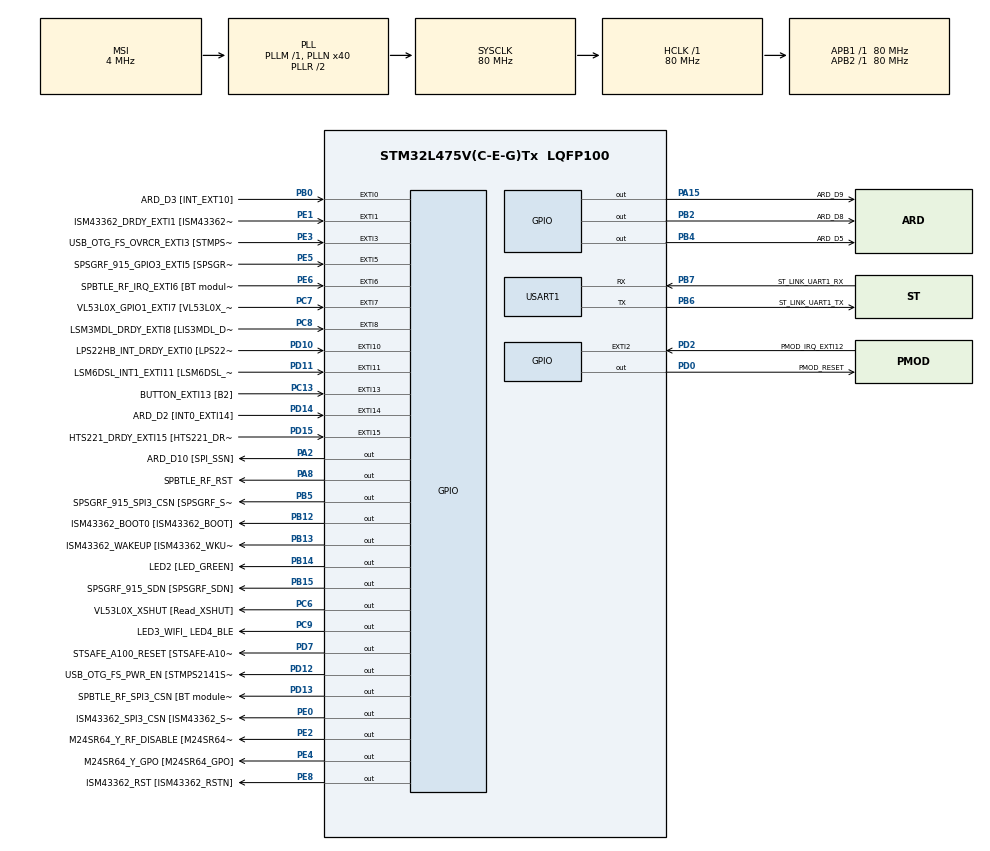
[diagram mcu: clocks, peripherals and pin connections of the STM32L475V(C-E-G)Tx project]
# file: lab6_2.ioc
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ADC1.Channel-0\#ChannelRegularConversion=ADC_CHANNEL_TEMPSENSOR
ADC1.DMAContinuousRequests=ENABLE
ADC1.ExternalTrigConv=ADC_EXTERNALTRIG_T1_TRGO
ADC1.NbrOfConversionFlag=1
ADC1.OffsetNumber-0\#ChannelRegularConversion=ADC_OFFSET_NONE
ADC1.Overrun=ADC_OVR_DATA_OVERWRITTEN
ADC1.Rank-0\#ChannelRegularConversion=1
ADC1.SamplingTime-0\#ChannelRegularConversion=ADC_SAMPLETIME_247CYCLES_5
ADC1.master=1
Dma.ADC1.0.Direction=DMA_PERIPH_TO_MEMORY
Dma.ADC1.0.Instance=DMA1_Channel1
Dma.ADC1.0.MemDataAlignment=DMA_MDATAALIGN_HALFWORD
Dma.ADC1.0.MemInc=DMA_MINC_ENABLE
Dma.ADC1.0.Mode=DMA_CIRCULAR
Dma.ADC1.0.PeriphDataAlignment=DMA_PDATAALIGN_HALFWORD
Dma.ADC1.0.PeriphInc=DMA_PINC_DISABLE
Dma.ADC1.0.Priority=DMA_PRIORITY_LOW
Dma.Request0=ADC1
FREERTOS.Queues01=tempQueue,8,uint8_t,0,Dynamic,NULL,NULL
FREERTOS.Tasks01=TempTask,24,512,StartTempTask,Default,NULL,Dynamic,NULL,NULL
FREERTOS.configUSE_NEWLIB_REENTRANT=1
Mcu.Family=STM32L4
Mcu.Name=STM32L475V(C-E-G)Tx
Mcu.Package=LQFP100
NVIC.ADC1_2_IRQn=true\:5\:0\:false\:false\:true\:true\:true\:true\:true
NVIC.DMA1_Channel1_IRQn=true\:5\:0\:false\:false\:true\:true\:false\:true\:true
NVIC.EXTI15_10_IRQn=true\:5\:0\:false\:false\:true\:true\:true\:true\:true
NVIC.EXTI9_5_IRQn=true\:5\:0\:false\:false\:true\:true\:true\:true\:true
NVIC.PriorityGroup=NVIC_PRIORITYGROUP_4
NVIC.TIM6_DAC_IRQn=true\:15\:0\:false\:false\:true\:false\:false\:true\:true
NVIC.TimeBase=TIM6_DAC_IRQn
NVIC.TimeBaseIP=TIM6
NVIC.USART1_IRQn=true\:5\:0\:false\:false\:true\:true\:true\:true\:true
PA0.GPIO_Label=ARD_D1 [UART4_TX]
PA0.Signal=UART4_TX
PA1.GPIO_Label=ARD_D0 [UART4_RX]
PA1.Signal=UART4_RX
PA10.GPIO_Label=USB_OTG_FS_ID
PA10.Signal=USB_OTG_FS_ID
PA11.GPIO_Label=USB_OTG_FS_DM
PA11.Signal=USB_OTG_FS_DM
PA12.GPIO_Label=USB_OTG_FS_DP
PA12.Signal=USB_OTG_FS_DP
PA13\ (JTMS-SWDIO).GPIO_Label=SYS_JTMS_SWDIO
PA13\ (JTMS-SWDIO).Mode=Serial_Wire
PA13\ (JTMS-SWDIO).Signal=SYS_JTMS-SWDIO
PA14\ (JTCK-SWCLK).GPIO_Label=SYS_JTCK_SWCLK
PA14\ (JTCK-SWCLK).Mode=Serial_Wire
PA14\ (JTCK-SWCLK).Signal=SYS_JTCK-SWCLK
PA15\ (JTDI).GPIO_Label=ARD_D9
PA15\ (JTDI).Signal=GPIO_Output
PA2.GPIO_Label=ARD_D10 [SPI_SSN]
PA2.Signal=GPIO_Output
PA3.GPIO_Label=ARD_D4
PA3.Signal=S_TIM2_CH4
PA4.GPIO_Label=ARD_D7
PA4.Signal=ADCx_IN9
PA5.GPIO_Label=ARD_D13 [SPI1_SCK]
PA5.Signal=SPI1_SCK
PA6.GPIO_Label=ARD_D12 [SPI1_MISO]
PA6.Signal=SPI1_MISO
PA7.GPIO_Label=ARD_D11 [SPI1_MOSI]
PA7.Signal=SPI1_MOSI
PA8.GPIO_Label=SPBTLE_RF_RST
PA8.Signal=GPIO_Output
PA9.GPIO_Label=USB_OTG_FS_VBUS [STMPS2141STR_OUT]
PA9.Signal=USB_OTG_FS_VBUS
PB0.GPIO_Label=ARD_D3 [INT_EXT10]
PB0.Signal=GPXTI0
PB1.GPIO_Label=ARD_D6 [ADC1_IN6]
PB1.Signal=ADCx_IN16
PB10.GPIO_Label=INTERNAL_I2C2_SCL [VL53L0X_SCL]
PB10.Signal=I2C2_SCL
PB11.GPIO_Label=INTERNAL_I2C2_SDA [VL53L0X_SDA]
PB11.Signal=I2C2_SDA
PB12.GPIO_Label=ISM43362_BOOT0 [ISM43362_BOOT]
PB12.Signal=GPIO_Output
PB13.GPIO_Label=ISM43362_WAKEUP [ISM43362_WKUP]
PB13.Signal=GPIO_Output
PB14.GPIO_Label=LED2 [LED_GREEN]
PB14.Signal=GPIO_Output
PB15.GPIO_Label=SPSGRF_915_SDN [SPSGRF_SDN]
PB15.Signal=GPIO_Output
PB2.GPIO_Label=ARD_D8
PB2.Signal=GPIO_Output
PB3\ (JTDO-TRACESWO).GPIO_Label=SYS_JTD0_SWO
PB3\ (JTDO-TRACESWO).Signal=SYS_JTDO-SWO
PB4\ (NJTRST).GPIO_Label=ARD_D5
PB4\ (NJTRST).Signal=GPIO_Output
PB5.GPIO_Label=SPSGRF_915_SPI3_CSN [SPSGRF_SPI_CS]
PB5.PinState=GPIO_PIN_SET
PB5.Signal=GPIO_Output
PB6.GPIO_Label=ST_LINK_UART1_TX
PB6.Mode=Asynchronous
PB6.Signal=USART1_TX
PB7.GPIO_Label=ST_LINK_UART1_RX
PB7.Mode=Asynchronous
PB7.Signal=USART1_RX
PB8.GPIO_Label=ARD_D15 [I2C1_SCL]
PB8.Signal=I2C1_SCL
PB9.GPIO_Label=ARD_D14 [I2C1_SDA]
PB9.Signal=I2C1_SDA
PC0.GPIO_Label=ARD_A5 [ADC]
PC0.Signal=ADCx_IN1
PC1.GPIO_Label=ARD_A4 [ADC]
PC1.Signal=ADCx_IN2
PC10.GPIO_Label=INTERNAL_SPI3_SCK [BT module_SPI_SCLK] [ISM43362_SCK]
PC10.Signal=SPI3_SCK
PC11.GPIO_Label=INTERNAL_SPI3_MISO [BT module_SPI_MISO] [ISM43362_MISO]
PC11.Signal=SPI3_MISO
PC12.GPIO_Label=INTERNAL_SPI3_MOSI [BT module_SPI_MOSI] [ISM43362_MOSI]
PC12.Signal=SPI3_MOSI
PC13.GPIO_Label=BUTTON_EXTI13 [B2]
PC13.GPIO_ModeDefaultEXTI=GPIO_MODE_IT_FALLING
PC13.Signal=GPXTI13
PC14-OSC32_IN\ (PC14).Signal=RCC_OSC32_IN
PC15-OSC32_OUT\ (PC15).Signal=RCC_OSC32_OUT
PC2.GPIO_Label=ARD_A3 [ADC]
PC2.Signal=ADCx_IN3
PC3.GPIO_Label=ARD_A2 [ADC]
PC3.Signal=ADCx_IN4
PC4.GPIO_Label=ARD_A1 [ADC]
PC4.Signal=ADCx_IN13
PC5.GPIO_Label=ARD_A0 [ADC]
PC5.Signal=ADCx_IN14
PC6.GPIO_Label=VL53L0X_XSHUT [Read_XSHUT]
PC6.Signal=GPIO_Output
PC7.GPIO_Label=VL53L0X_GPIO1_EXTI7 [VL53L0X_GPIO1]
PC7.Signal=GPXTI7
PC8.GPIO_Label=LSM3MDL_DRDY_EXTI8 [LIS3MDL_DRDY]
PC8.Signal=GPXTI8
PC9.GPIO_Label=LED3_WIFI_ LED4_BLE
PC9.Signal=GPIO_Output
PD0.GPIO_Label=PMOD_RESET
PD0.Signal=GPIO_Output
PD1.GPIO_Label=PMOD_SPI2_SCK
PD1.Signal=SPI2_SCK
PD10.GPIO_Label=LPS22HB_INT_DRDY_EXTI0 [LPS22HB_INT_DRDY] 
PD10.Signal=GPXTI10
PD11.GPIO_Label=LSM6DSL_INT1_EXTI11 [LSM6DSL_INT1]
PD11.Signal=GPXTI11
PD12.GPIO_Label=USB_OTG_FS_PWR_EN [STMPS2141STR_EN]
PD12.Signal=GPIO_Output
PD13.GPIO_Label=SPBTLE_RF_SPI3_CSN [BT module_SPI_CS]
PD13.PinState=GPIO_PIN_SET
PD13.Signal=GPIO_Output
PD14.GPIO_Label=ARD_D2 [INT0_EXTI14]
PD14.Signal=GPXTI14
PD15.GPIO_Label=HTS221_DRDY_EXTI15 [HTS221_DRDY]
PD15.Signal=GPXTI15
PD2.GPIO_Label=PMOD_IRQ_EXTI12
PD2.Signal=GPXTI2
PD3.GPIO_Label=PMOD_UART2_CTS
PD3.Signal=USART2_CTS
PD4.GPIO_Label=PMOD_UART2_RTS
PD4.Signal=USART2_RTS
PD5.GPIO_Label=PMOD_UART2_TX
PD5.Signal=USART2_TX
PD6.GPIO_Label=PMOD_UART2_RX
PD6.Signal=USART2_RX
PD7.GPIO_Label=STSAFE_A100_RESET [STSAFE-A100_RESET]
PD7.Signal=GPIO_Output
PD8.GPIO_Label=INTERNAL_UART3_TX [ISM43362_RX]
PD8.Signal=USART3_TX
PD9.GPIO_Label=INTERNAL_UART3_RX [ISM43362_TX]
PD9.Signal=USART3_RX
PE0.GPIO_Label=ISM43362_SPI3_CSN [ISM43362_SSN]
PE0.PinState=GPIO_PIN_SET
PE0.Signal=GPIO_Output
PE1.GPIO_Label=ISM43362_DRDY_EXTI1 [ISM43362_DATARDY]
PE1.Signal=GPXTI1
PE10.GPIO_Label=QUADSPI_CLK [MX25R6435F_SCLK]
PE10.Signal=QUADSPI_CLK
PE11.GPIO_Label=QUADSPI_NCS [MX25R6435F_SCLK]
PE11.Signal=QUADSPI_NCS
PE12.GPIO_Label=OQUADSPI_BK1_IO0 [MX25R6435F_IO0]
PE12.Signal=QUADSPI_BK1_IO0
PE13.GPIO_Label=QUADSPI_BK1_IO1 [MX25R6435F_IO1]
PE13.Signal=QUADSPI_BK1_IO1
PE14.GPIO_Label=QUAD_SPI_BK1_IO2 [MX25R6435F_IO2]
PE14.Signal=QUADSPI_BK1_IO2
PE15.GPIO_Label=QUAD_SPI_BK1_IO3 [MX25R6435F_IO3]
PE15.Signal=QUADSPI_BK1_IO3
PE2.GPIO_Label=M24SR64_Y_RF_DISABLE [M24SR64_RFDIS]
PE2.Signal=GPIO_Output
PE3.GPIO_Label=USB_OTG_FS_OVRCR_EXTI3 [STMPS2141STR_FAULT]
PE3.Signal=GPXTI3
PE4.GPIO_Label=M24SR64_Y_GPO [M24SR64_GPO]
PE4.Signal=GPIO_Output
PE5.GPIO_Label=SPSGRF_915_GPIO3_EXTI5 [SPSGRF_GPIO_3]
PE5.Signal=GPXTI5
PE6.GPIO_Label=SPBTLE_RF_IRQ_EXTI6 [BT module_SPI_IRQ]
PE6.Signal=GPXTI6
PE7.GPIO_Label=DFSDM1_DATIN2 [MP34DT01_DOUT]
PE7.Signal=S_DATAIN2DFSDM1
PE8.GPIO_Label=ISM43362_RST [ISM43362_RSTN]
PE8.Signal=GPIO_Output
PE9.GPIO_Label=DFSDM1_CKOUT [MP34DT01_CLK]
PE9.Signal=S_CKOUTDFSDM1
ProjectManager.HeapSize=0x200
ProjectManager.StackSize=0x400
ProjectManager.TargetToolchain=STM32CubeIDE
RCC.ADCFreq_Value=48000000
RCC.AHBFreq_Value=80000000
RCC.APB1Freq_Value=80000000
RCC.APB1TimFreq_Value=80000000
RCC.APB2Freq_Value=80000000
RCC.APB2TimFreq_Value=80000000
RCC.CortexFreq_Value=80000000
RCC.HCLKFreq_Value=80000000
RCC.HSE_VALUE=8000000
RCC.HSI_VALUE=16000000
RCC.LSE_VALUE=32768
RCC.MSI_VALUE=4000000
RCC.PLLN=40
RCC.PLLSAI1N=24
RCC.SYSCLKFreq_VALUE=80000000
RCC.SYSCLKSource=RCC_SYSCLKSOURCE_PLLCLK
RCC.USBFreq_Value=48000000
RCC.VCOOutputFreq_Value=160000000
SH.ADCx_IN1.0=ADC1_IN1
SH.ADCx_IN13.0=ADC1_IN13
SH.ADCx_IN14.0=ADC1_IN14
SH.ADCx_IN16.0=ADC1_IN16
SH.ADCx_IN2.0=ADC1_IN2
SH.ADCx_IN3.0=ADC1_IN3
SH.ADCx_IN4.0=ADC1_IN4
SH.ADCx_IN9.0=ADC1_IN9
SH.S_CKOUTDFSDM1.0=DFSDM1_CKOUT
SH.S_DATAIN2DFSDM1.0=DFSDM1_DATIN2
SH.S_TIM2_CH4.0=TIM2_CH4
TIM1.Period=999
TIM1.Prescaler=3999
TIM1.TIM_MasterOutputTrigger=TIM_TRGO_UPDATE
TIM1.TIM_MasterOutputTrigger2=TIM_TRGO2_UPDATE
USART1.VirtualMode-Asynchronous=VM_ASYNC
VP_ADC1_TempSens_Input.Mode=IN-TempSens
VP_FREERTOS_VS_CMSIS_V2.Mode=CMSIS_V2
VP_SYS_VS_tim6.Mode=TIM6
VP_TIM1_VS_ClockSourceINT.Mode=Internal
board=B-L475E-IOT01A1

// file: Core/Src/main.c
/* USER CODE BEGIN Header */
/**
  ******************************************************************************
  * @file           : main.c
  * @brief          : Main program body
  ******************************************************************************
  * @attention
  *
  * Copyright (c) 2026 STMicroelectronics.
  * All rights reserved.
  *
  * This software is licensed under terms that can be found in the LICENSE file
  * in the root directory of this software component.
  * If no LICENSE file comes with this software, it is provided AS-IS.
  *
  ******************************************************************************
  */
/* USER CODE END Header */
#include "main.h"
#include "cmsis_os.h"

/* USER CODE BEGIN Includes */
#include <stdio.h>
/* USER CODE END Includes */

/* USER CODE BEGIN PD */
#define SAMPLE_BUFFER_SIZE 256
/* USER CODE END PD */

ADC_HandleTypeDef hadc1;
DMA_HandleTypeDef hdma_adc1;

TIM_HandleTypeDef htim1;

UART_HandleTypeDef huart1;

/* Definitions for TempTask */
osThreadId_t TempTaskHandle;
const osThreadAttr_t TempTask_attributes = {
  .name = "TempTask",
  .stack_size = 512 * 4,
  .priority = (osPriority_t) osPriorityNormal,
};
/* Definitions for tempQueue */
osMessageQueueId_t tempQueueHandle;
const osMessageQueueAttr_t tempQueue_attributes = {
  .name = "tempQueue"
};
/* USER CODE BEGIN PV */
uint16_t sample_buffer[SAMPLE_BUFFER_SIZE];
/* USER CODE END PV */

void SystemClock_Config(void);
static void MX_GPIO_Init(void);
static void MX_DMA_Init(void);
static void MX_ADC1_Init(void);
static void MX_TIM1_Init(void);
static void MX_USART1_UART_Init(void);
void StartTempTask(void *argument);

/* USER CODE BEGIN 0 */
int __io_putchar(int ch) {
	HAL_UART_Transmit(&huart1, (uint8_t*)&ch, 1, HAL_MAX_DELAY);
	return ch;
}
/* USER CODE END 0 */

int main(void)
{

  /* MCU Configuration--------------------------------------------------------*/

  /* Reset of all peripherals, Initializes the Flash interface and the Systick. */
  HAL_Init();

  /* Configure the system clock */
  SystemClock_Config();

  /* Initialize all configured peripherals */
  MX_GPIO_Init();
  MX_DMA_Init();
  MX_ADC1_Init();
  MX_TIM1_Init();
  MX_USART1_UART_Init();

  /* Init scheduler */
  osKernelInitialize();

  /* Create the queue(s) */
  /* creation of tempQueue */
  tempQueueHandle = osMessageQueueNew (8, sizeof(uint8_t), &tempQueue_attributes);

  /* Create the thread(s) */
  /* creation of TempTask */
  TempTaskHandle = osThreadNew(StartTempTask, NULL, &TempTask_attributes);

  /* Start scheduler */
  osKernelStart();

  /* We should never get here as control is now taken by the scheduler */

  /* Infinite loop */
  while (1)
  {

  }
}

void SystemClock_Config(void)
{
  RCC_OscInitTypeDef RCC_OscInitStruct = {0};
  RCC_ClkInitTypeDef RCC_ClkInitStruct = {0};

  /** Configure the main internal regulator output voltage
  */
  if (HAL_PWREx_ControlVoltageScaling(PWR_REGULATOR_VOLTAGE_SCALE1) != HAL_OK)
  {
    Error_Handler();
  }

  /** Initializes the RCC Oscillators according to the specified parameters
  * in the RCC_OscInitTypeDef structure.
  */
  RCC_OscInitStruct.OscillatorType = RCC_OSCILLATORTYPE_MSI;
  RCC_OscInitStruct.MSIState = RCC_MSI_ON;
  RCC_OscInitStruct.MSICalibrationValue = 0;
  RCC_OscInitStruct.MSIClockRange = RCC_MSIRANGE_6;
  RCC_OscInitStruct.PLL.PLLState = RCC_PLL_ON;
  RCC_OscInitStruct.PLL.PLLSource = RCC_PLLSOURCE_MSI;
  RCC_OscInitStruct.PLL.PLLM = 1;
  RCC_OscInitStruct.PLL.PLLN = 40;
  RCC_OscInitStruct.PLL.PLLP = RCC_PLLP_DIV7;
  RCC_OscInitStruct.PLL.PLLQ = RCC_PLLQ_DIV2;
  RCC_OscInitStruct.PLL.PLLR = RCC_PLLR_DIV2;
  if (HAL_RCC_OscConfig(&RCC_OscInitStruct) != HAL_OK)
  {
    Error_Handler();
  }

  /** Initializes the CPU, AHB and APB buses clocks
  */
  RCC_ClkInitStruct.ClockType = RCC_CLOCKTYPE_HCLK|RCC_CLOCKTYPE_SYSCLK
                              |RCC_CLOCKTYPE_PCLK1|RCC_CLOCKTYPE_PCLK2;
  RCC_ClkInitStruct.SYSCLKSource = RCC_SYSCLKSOURCE_PLLCLK;
  RCC_ClkInitStruct.AHBCLKDivider = RCC_SYSCLK_DIV1;
  RCC_ClkInitStruct.APB1CLKDivider = RCC_HCLK_DIV1;
  RCC_ClkInitStruct.APB2CLKDivider = RCC_HCLK_DIV1;

  if (HAL_RCC_ClockConfig(&RCC_ClkInitStruct, FLASH_LATENCY_4) != HAL_OK)
  {
    Error_Handler();
  }
}

static void MX_ADC1_Init(void)
{

  ADC_MultiModeTypeDef multimode = {0};
  ADC_ChannelConfTypeDef sConfig = {0};

  /** Common config
  */
  hadc1.Instance = ADC1;
  hadc1.Init.ClockPrescaler = ADC_CLOCK_ASYNC_DIV1;
  hadc1.Init.Resolution = ADC_RESOLUTION_12B;
  hadc1.Init.DataAlign = ADC_DATAALIGN_RIGHT;
  hadc1.Init.ScanConvMode = ADC_SCAN_DISABLE;
  hadc1.Init.EOCSelection = ADC_EOC_SINGLE_CONV;
  hadc1.Init.LowPowerAutoWait = DISABLE;
  hadc1.Init.ContinuousConvMode = DISABLE;
  hadc1.Init.NbrOfConversion = 1;
  hadc1.Init.DiscontinuousConvMode = DISABLE;
  hadc1.Init.ExternalTrigConv = ADC_EXTERNALTRIG_T1_TRGO;
  hadc1.Init.ExternalTrigConvEdge = ADC_EXTERNALTRIGCONVEDGE_RISING;
  hadc1.Init.DMAContinuousRequests = ENABLE;
  hadc1.Init.Overrun = ADC_OVR_DATA_OVERWRITTEN;
  hadc1.Init.OversamplingMode = DISABLE;
  if (HAL_ADC_Init(&hadc1) != HAL_OK)
  {
    Error_Handler();
  }

  /** Configure the ADC multi-mode
  */
  multimode.Mode = ADC_MODE_INDEPENDENT;
  if (HAL_ADCEx_MultiModeConfigChannel(&hadc1, &multimode) != HAL_OK)
  {
    Error_Handler();
  }

  /** Configure Regular Channel
  */
  sConfig.Channel = ADC_CHANNEL_TEMPSENSOR;
  sConfig.Rank = ADC_REGULAR_RANK_1;
  sConfig.SamplingTime = ADC_SAMPLETIME_247CYCLES_5;
  sConfig.SingleDiff = ADC_SINGLE_ENDED;
  sConfig.OffsetNumber = ADC_OFFSET_NONE;
  sConfig.Offset = 0;
  if (HAL_ADC_ConfigChannel(&hadc1, &sConfig) != HAL_OK)
  {
    Error_Handler();
  }

}

static void MX_TIM1_Init(void)
{

  TIM_ClockConfigTypeDef sClockSourceConfig = {0};
  TIM_MasterConfigTypeDef sMasterConfig = {0};

  htim1.Instance = TIM1;
  htim1.Init.Prescaler = 3999;
  htim1.Init.CounterMode = TIM_COUNTERMODE_UP;
  htim1.Init.Period = 999;
  htim1.Init.ClockDivision = TIM_CLOCKDIVISION_DIV1;
  htim1.Init.RepetitionCounter = 0;
  htim1.Init.AutoReloadPreload = TIM_AUTORELOAD_PRELOAD_DISABLE;
  if (HAL_TIM_Base_Init(&htim1) != HAL_OK)
  {
    Error_Handler();
  }
  sClockSourceConfig.ClockSource = TIM_CLOCKSOURCE_INTERNAL;
  if (HAL_TIM_ConfigClockSource(&htim1, &sClockSourceConfig) != HAL_OK)
  {
    Error_Handler();
  }
  sMasterConfig.MasterOutputTrigger = TIM_TRGO_UPDATE;
  sMasterConfig.MasterOutputTrigger2 = TIM_TRGO2_UPDATE;
  sMasterConfig.MasterSlaveMode = TIM_MASTERSLAVEMODE_DISABLE;
  if (HAL_TIMEx_MasterConfigSynchronization(&htim1, &sMasterConfig) != HAL_OK)
  {
    Error_Handler();
  }

}

static void MX_USART1_UART_Init(void)
{

  huart1.Instance = USART1;
  huart1.Init.BaudRate = 115200;
  huart1.Init.WordLength = UART_WORDLENGTH_8B;
  huart1.Init.StopBits = UART_STOPBITS_1;
  huart1.Init.Parity = UART_PARITY_NONE;
  huart1.Init.Mode = UART_MODE_TX_RX;
  huart1.Init.HwFlowCtl = UART_HWCONTROL_NONE;
  huart1.Init.OverSampling = UART_OVERSAMPLING_16;
  huart1.Init.OneBitSampling = UART_ONE_BIT_SAMPLE_DISABLE;
  huart1.AdvancedInit.AdvFeatureInit = UART_ADVFEATURE_NO_INIT;
  if (HAL_UART_Init(&huart1) != HAL_OK)
  {
    Error_Handler();
  }

}

static void MX_DMA_Init(void)
{

  /* DMA controller clock enable */
  __HAL_RCC_DMA1_CLK_ENABLE();

  /* DMA interrupt init */
  /* DMA1_Channel1_IRQn interrupt configuration */
  HAL_NVIC_SetPriority(DMA1_Channel1_IRQn, 5, 0);
  HAL_NVIC_EnableIRQ(DMA1_Channel1_IRQn);

}

static void MX_GPIO_Init(void)
{
  GPIO_InitTypeDef GPIO_InitStruct = {0};

  /* GPIO Ports Clock Enable */
  __HAL_RCC_GPIOE_CLK_ENABLE();
  __HAL_RCC_GPIOC_CLK_ENABLE();
  __HAL_RCC_GPIOA_CLK_ENABLE();
  __HAL_RCC_GPIOB_CLK_ENABLE();
  __HAL_RCC_GPIOD_CLK_ENABLE();

  /*Configure GPIO pin Output Level */
  HAL_GPIO_WritePin(GPIOE, M24SR64_Y_RF_DISABLE_Pin|M24SR64_Y_GPO_Pin|ISM43362_RST_Pin, GPIO_PIN_RESET);

  /*Configure GPIO pin Output Level */
  HAL_GPIO_WritePin(GPIOA, ARD_D10_Pin|SPBTLE_RF_RST_Pin|ARD_D9_Pin, GPIO_PIN_RESET);

  /*Configure GPIO pin Output Level */
  HAL_GPIO_WritePin(GPIOB, ARD_D8_Pin|ISM43362_BOOT0_Pin|ISM43362_WAKEUP_Pin|LED2_Pin
                          |SPSGRF_915_SDN_Pin|ARD_D5_Pin, GPIO_PIN_RESET);

  /*Configure GPIO pin Output Level */
  HAL_GPIO_WritePin(GPIOD, USB_OTG_FS_PWR_EN_Pin|PMOD_RESET_Pin|STSAFE_A100_RESET_Pin, GPIO_PIN_RESET);

  /*Configure GPIO pin Output Level */
  HAL_GPIO_WritePin(SPBTLE_RF_SPI3_CSN_GPIO_Port, SPBTLE_RF_SPI3_CSN_Pin, GPIO_PIN_SET);

  /*Configure GPIO pin Output Level */
  HAL_GPIO_WritePin(GPIOC, VL53L0X_XSHUT_Pin|LED3_WIFI__LED4_BLE_Pin, GPIO_PIN_RESET);

  /*Configure GPIO pin Output Level */
  HAL_GPIO_WritePin(SPSGRF_915_SPI3_CSN_GPIO_Port, SPSGRF_915_SPI3_CSN_Pin, GPIO_PIN_SET);

  /*Configure GPIO pin Output Level */
  HAL_GPIO_WritePin(ISM43362_SPI3_CSN_GPIO_Port, ISM43362_SPI3_CSN_Pin, GPIO_PIN_SET);

  /*Configure GPIO pins : M24SR64_Y_RF_DISABLE_Pin M24SR64_Y_GPO_Pin ISM43362_RST_Pin ISM43362_SPI3_CSN_Pin */
  GPIO_InitStruct.Pin = M24SR64_Y_RF_DISABLE_Pin|M24SR64_Y_GPO_Pin|ISM43362_RST_Pin|ISM43362_SPI3_CSN_Pin;
  GPIO_InitStruct.Mode = GPIO_MODE_OUTPUT_PP;
  GPIO_InitStruct.Pull = GPIO_NOPULL;
  GPIO_InitStruct.Speed = GPIO_SPEED_FREQ_LOW;
  HAL_GPIO_Init(GPIOE, &GPIO_InitStruct);

  /*Configure GPIO pins : USB_OTG_FS_OVRCR_EXTI3_Pin SPSGRF_915_GPIO3_EXTI5_Pin SPBTLE_RF_IRQ_EXTI6_Pin ISM43362_DRDY_EXTI1_Pin */
  GPIO_InitStruct.Pin = USB_OTG_FS_OVRCR_EXTI3_Pin|SPSGRF_915_GPIO3_EXTI5_Pin|SPBTLE_RF_IRQ_EXTI6_Pin|ISM43362_DRDY_EXTI1_Pin;
  GPIO_InitStruct.Mode = GPIO_MODE_IT_RISING;
  GPIO_InitStruct.Pull = GPIO_NOPULL;
  HAL_GPIO_Init(GPIOE, &GPIO_InitStruct);

  /*Configure GPIO pin : BUTTON_EXTI13_Pin */
  GPIO_InitStruct.Pin = BUTTON_EXTI13_Pin;
  GPIO_InitStruct.Mode = GPIO_MODE_IT_FALLING;
  GPIO_InitStruct.Pull = GPIO_NOPULL;
  HAL_GPIO_Init(BUTTON_EXTI13_GPIO_Port, &GPIO_InitStruct);

  /*Configure GPIO pins : ARD_D1_Pin ARD_D0_Pin */
  GPIO_InitStruct.Pin = ARD_D1_Pin|ARD_D0_Pin;
  GPIO_InitStruct.Mode = GPIO_MODE_AF_PP;
  GPIO_InitStruct.Pull = GPIO_NOPULL;
  GPIO_InitStruct.Speed = GPIO_SPEED_FREQ_VERY_HIGH;
  GPIO_InitStruct.Alternate = GPIO_AF8_UART4;
  HAL_GPIO_Init(GPIOA, &GPIO_InitStruct);

  /*Configure GPIO pins : ARD_D10_Pin SPBTLE_RF_RST_Pin ARD_D9_Pin */
  GPIO_InitStruct.Pin = ARD_D10_Pin|SPBTLE_RF_RST_Pin|ARD_D9_Pin;
  GPIO_InitStruct.Mode = GPIO_MODE_OUTPUT_PP;
  GPIO_InitStruct.Pull = GPIO_NOPULL;
  GPIO_InitStruct.Speed = GPIO_SPEED_FREQ_LOW;
  HAL_GPIO_Init(GPIOA, &GPIO_InitStruct);

  /*Configure GPIO pin : ARD_D4_Pin */
  GPIO_InitStruct.Pin = ARD_D4_Pin;
  GPIO_InitStruct.Mode = GPIO_MODE_AF_PP;
  GPIO_InitStruct.Pull = GPIO_NOPULL;
  GPIO_InitStruct.Speed = GPIO_SPEED_FREQ_LOW;
  GPIO_InitStruct.Alternate = GPIO_AF1_TIM2;
  HAL_GPIO_Init(ARD_D4_GPIO_Port, &GPIO_InitStruct);

  /*Configure GPIO pins : ARD_D13_Pin ARD_D12_Pin ARD_D11_Pin */
  GPIO_InitStruct.Pin = ARD_D13_Pin|ARD_D12_Pin|ARD_D11_Pin;
  GPIO_InitStruct.Mode = GPIO_MODE_AF_PP;
  GPIO_InitStruct.Pull = GPIO_NOPULL;
  GPIO_InitStruct.Speed = GPIO_SPEED_FREQ_VERY_HIGH;
  GPIO_InitStruct.Alternate = GPIO_AF5_SPI1;
  HAL_GPIO_Init(GPIOA, &GPIO_InitStruct);

  /*Configure GPIO pin : ARD_D3_Pin */
  GPIO_InitStruct.Pin = ARD_D3_Pin;
  GPIO_InitStruct.Mode = GPIO_MODE_IT_RISING;
  GPIO_InitStruct.Pull = GPIO_NOPULL;
  HAL_GPIO_Init(ARD_D3_GPIO_Port, &GPIO_InitStruct);

  /*Configure GPIO pins : ARD_D8_Pin ISM43362_BOOT0_Pin ISM43362_WAKEUP_Pin LED2_Pin
                           SPSGRF_915_SDN_Pin ARD_D5_Pin SPSGRF_915_SPI3_CSN_Pin */
  GPIO_InitStruct.Pin = ARD_D8_Pin|ISM43362_BOOT0_Pin|ISM43362_WAKEUP_Pin|LED2_Pin
                          |SPSGRF_915_SDN_Pin|ARD_D5_Pin|SPSGRF_915_SPI3_CSN_Pin;
  GPIO_InitStruct.Mode = GPIO_MODE_OUTPUT_PP;
  GPIO_InitStruct.Pull = GPIO_NOPULL;
  GPIO_InitStruct.Speed = GPIO_SPEED_FREQ_LOW;
  HAL_GPIO_Init(GPIOB, &GPIO_InitStruct);

  /*Configure GPIO pins : DFSDM1_DATIN2_Pin DFSDM1_CKOUT_Pin */
  GPIO_InitStruct.Pin = DFSDM1_DATIN2_Pin|DFSDM1_CKOUT_Pin;
  GPIO_InitStruct.Mode = GPIO_MODE_AF_PP;
  GPIO_InitStruct.Pull = GPIO_NOPULL;
  GPIO_InitStruct.Speed = GPIO_SPEED_FREQ_LOW;
  GPIO_InitStruct.Alternate = GPIO_AF6_DFSDM1;
  HAL_GPIO_Init(GPIOE, &GPIO_InitStruct);

  /*Configure GPIO pins : QUADSPI_CLK_Pin QUADSPI_NCS_Pin OQUADSPI_BK1_IO0_Pin QUADSPI_BK1_IO1_Pin
                           QUAD_SPI_BK1_IO2_Pin QUAD_SPI_BK1_IO3_Pin */
  GPIO_InitStruct.Pin = QUADSPI_CLK_Pin|QUADSPI_NCS_Pin|OQUADSPI_BK1_IO0_Pin|QUADSPI_BK1_IO1_Pin
                          |QUAD_SPI_BK1_IO2_Pin|QUAD_SPI_BK1_IO3_Pin;
  GPIO_InitStruct.Mode = GPIO_MODE_AF_PP;
  GPIO_InitStruct.Pull = GPIO_NOPULL;
  GPIO_InitStruct.Speed = GPIO_SPEED_FREQ_VERY_HIGH;
  GPIO_InitStruct.Alternate = GPIO_AF10_QUADSPI;
  HAL_GPIO_Init(GPIOE, &GPIO_InitStruct);

  /*Configure GPIO pins : INTERNAL_I2C2_SCL_Pin INTERNAL_I2C2_SDA_Pin */
  GPIO_InitStruct.Pin = INTERNAL_I2C2_SCL_Pin|INTERNAL_I2C2_SDA_Pin;
  GPIO_InitStruct.Mode = GPIO_MODE_AF_OD;
  GPIO_InitStruct.Pull = GPIO_NOPULL;
  GPIO_InitStruct.Speed = GPIO_SPEED_FREQ_VERY_HIGH;
  GPIO_InitStruct.Alternate = GPIO_AF4_I2C2;
  HAL_GPIO_Init(GPIOB, &GPIO_InitStruct);

  /*Configure GPIO pins : INTERNAL_UART3_TX_Pin INTERNAL_UART3_RX_Pin */
  GPIO_InitStruct.Pin = INTERNAL_UART3_TX_Pin|INTERNAL_UART3_RX_Pin;
  GPIO_InitStruct.Mode = GPIO_MODE_AF_PP;
  GPIO_InitStruct.Pull = GPIO_NOPULL;
  GPIO_InitStruct.Speed = GPIO_SPEED_FREQ_VERY_HIGH;
  GPIO_InitStruct.Alternate = GPIO_AF7_USART3;
  HAL_GPIO_Init(GPIOD, &GPIO_InitStruct);

  /*Configure GPIO pins : LPS22HB_INT_DRDY_EXTI0_Pin LSM6DSL_INT1_EXTI11_Pin ARD_D2_Pin HTS221_DRDY_EXTI15_Pin
                           PMOD_IRQ_EXTI12_Pin */
  GPIO_InitStruct.Pin = LPS22HB_INT_DRDY_EXTI0_Pin|LSM6DSL_INT1_EXTI11_Pin|ARD_D2_Pin|HTS221_DRDY_EXTI15_Pin
                          |PMOD_IRQ_EXTI12_Pin;
  GPIO_InitStruct.Mode = GPIO_MODE_IT_RISING;
  GPIO_InitStruct.Pull = GPIO_NOPULL;
  HAL_GPIO_Init(GPIOD, &GPIO_InitStruct);

  /*Configure GPIO pins : USB_OTG_FS_PWR_EN_Pin SPBTLE_RF_SPI3_CSN_Pin PMOD_RESET_Pin STSAFE_A100_RESET_Pin */
  GPIO_InitStruct.Pin = USB_OTG_FS_PWR_EN_Pin|SPBTLE_RF_SPI3_CSN_Pin|PMOD_RESET_Pin|STSAFE_A100_RESET_Pin;
  GPIO_InitStruct.Mode = GPIO_MODE_OUTPUT_PP;
  GPIO_InitStruct.Pull = GPIO_NOPULL;
  GPIO_InitStruct.Speed = GPIO_SPEED_FREQ_LOW;
  HAL_GPIO_Init(GPIOD, &GPIO_InitStruct);

  /*Configure GPIO pins : VL53L0X_XSHUT_Pin LED3_WIFI__LED4_BLE_Pin */
  GPIO_InitStruct.Pin = VL53L0X_XSHUT_Pin|LED3_WIFI__LED4_BLE_Pin;
  GPIO_InitStruct.Mode = GPIO_MODE_OUTPUT_PP;
  GPIO_InitStruct.Pull = GPIO_NOPULL;
  GPIO_InitStruct.Speed = GPIO_SPEED_FREQ_LOW;
  HAL_GPIO_Init(GPIOC, &GPIO_InitStruct);

  /*Configure GPIO pins : VL53L0X_GPIO1_EXTI7_Pin LSM3MDL_DRDY_EXTI8_Pin */
  GPIO_InitStruct.Pin = VL53L0X_GPIO1_EXTI7_Pin|LSM3MDL_DRDY_EXTI8_Pin;
  GPIO_InitStruct.Mode = GPIO_MODE_IT_RISING;
  GPIO_InitStruct.Pull = GPIO_NOPULL;
  HAL_GPIO_Init(GPIOC, &GPIO_InitStruct);

  /*Configure GPIO pin : USB_OTG_FS_VBUS_Pin */
  GPIO_InitStruct.Pin = USB_OTG_FS_VBUS_Pin;
  GPIO_InitStruct.Mode = GPIO_MODE_INPUT;
  GPIO_InitStruct.Pull = GPIO_NOPULL;
  HAL_GPIO_Init(USB_OTG_FS_VBUS_GPIO_Port, &GPIO_InitStruct);

  /*Configure GPIO pins : USB_OTG_FS_ID_Pin USB_OTG_FS_DM_Pin USB_OTG_FS_DP_Pin */
  GPIO_InitStruct.Pin = USB_OTG_FS_ID_Pin|USB_OTG_FS_DM_Pin|USB_OTG_FS_DP_Pin;
  GPIO_InitStruct.Mode = GPIO_MODE_AF_PP;
  GPIO_InitStruct.Pull = GPIO_NOPULL;
  GPIO_InitStruct.Speed = GPIO_SPEED_FREQ_VERY_HIGH;
  GPIO_InitStruct.Alternate = GPIO_AF10_OTG_FS;
  HAL_GPIO_Init(GPIOA, &GPIO_InitStruct);

  /*Configure GPIO pins : INTERNAL_SPI3_SCK_Pin INTERNAL_SPI3_MISO_Pin INTERNAL_SPI3_MOSI_Pin */
  GPIO_InitStruct.Pin = INTERNAL_SPI3_SCK_Pin|INTERNAL_SPI3_MISO_Pin|INTERNAL_SPI3_MOSI_Pin;
  GPIO_InitStruct.Mode = GPIO_MODE_AF_PP;
  GPIO_InitStruct.Pull = GPIO_NOPULL;
  GPIO_InitStruct.Speed = GPIO_SPEED_FREQ_VERY_HIGH;
  GPIO_InitStruct.Alternate = GPIO_AF6_SPI3;
  HAL_GPIO_Init(GPIOC, &GPIO_InitStruct);

  /*Configure GPIO pin : PMOD_SPI2_SCK_Pin */
  GPIO_InitStruct.Pin = PMOD_SPI2_SCK_Pin;
  GPIO_InitStruct.Mode = GPIO_MODE_AF_PP;
  GPIO_InitStruct.Pull = GPIO_NOPULL;
  GPIO_InitStruct.Speed = GPIO_SPEED_FREQ_VERY_HIGH;
  GPIO_InitStruct.Alternate = GPIO_AF5_SPI2;
  HAL_GPIO_Init(PMOD_SPI2_SCK_GPIO_Port, &GPIO_InitStruct);

  /*Configure GPIO pins : PMOD_UART2_CTS_Pin PMOD_UART2_RTS_Pin PMOD_UART2_TX_Pin PMOD_UART2_RX_Pin */
  GPIO_InitStruct.Pin = PMOD_UART2_CTS_Pin|PMOD_UART2_RTS_Pin|PMOD_UART2_TX_Pin|PMOD_UART2_RX_Pin;
  GPIO_InitStruct.Mode = GPIO_MODE_AF_PP;
  GPIO_InitStruct.Pull = GPIO_NOPULL;
  GPIO_InitStruct.Speed = GPIO_SPEED_FREQ_VERY_HIGH;
  GPIO_InitStruct.Alternate = GPIO_AF7_USART2;
  HAL_GPIO_Init(GPIOD, &GPIO_InitStruct);

  /*Configure GPIO pins : ARD_D15_Pin ARD_D14_Pin */
  GPIO_InitStruct.Pin = ARD_D15_Pin|ARD_D14_Pin;
  GPIO_InitStruct.Mode = GPIO_MODE_AF_OD;
  GPIO_InitStruct.Pull = GPIO_NOPULL;
  GPIO_InitStruct.Speed = GPIO_SPEED_FREQ_VERY_HIGH;
  GPIO_InitStruct.Alternate = GPIO_AF4_I2C1;
  HAL_GPIO_Init(GPIOB, &GPIO_InitStruct);

  /* EXTI interrupt init*/
  HAL_NVIC_SetPriority(EXTI9_5_IRQn, 5, 0);
  HAL_NVIC_EnableIRQ(EXTI9_5_IRQn);

  HAL_NVIC_SetPriority(EXTI15_10_IRQn, 5, 0);
  HAL_NVIC_EnableIRQ(EXTI15_10_IRQn);

}

/* USER CODE BEGIN 4 */
void HAL_ADC_ConvHalfCpltCallback(ADC_HandleTypeDef *hadc) {
	if (hadc->Instance == ADC1) {
		uint8_t val = 0;
		osMessageQueuePut(tempQueueHandle, &val, 0, 0);
	}
}
void HAL_ADC_ConvCpltCallback(ADC_HandleTypeDef *hadc) {
	if (hadc->Instance == ADC1) {
		uint8_t val = 1;
		osMessageQueuePut(tempQueueHandle, &val, 0, 0);
	}
}
/* USER CODE END 4 */

void StartTempTask(void *argument)
{
  /* USER CODE BEGIN 5 */
  HAL_ADCEx_Calibration_Start(&hadc1, ADC_SINGLE_ENDED);
  HAL_ADC_Start_DMA(&hadc1, (uint32_t*)sample_buffer, SAMPLE_BUFFER_SIZE);
  HAL_TIM_Base_Start(&htim1);

  uint32_t sum = 0;
  uint16_t raw;
  uint8_t half;
  int temp;
  /* Infinite loop */
  for(;;)
  {
	  osMessageQueueGet(tempQueueHandle, &half, NULL, osWaitForever);
	  int s_i = half * (SAMPLE_BUFFER_SIZE / 2);
	  printf("Tick %lu: half=%u, index=[%d...%d]\r\n", osKernelGetTickCount(), half, s_i, s_i+SAMPLE_BUFFER_SIZE/2-1);
	  sum = 0;
	  for (int i = 0; i < SAMPLE_BUFFER_SIZE / 2; ++i) {
		  raw = sample_buffer[s_i + i];
		  sum += raw;
		  temp = __HAL_ADC_CALC_TEMPERATURE(3300, raw, ADC_RESOLUTION_12B);
		  printf("%5u", raw);
		  if ((i+1) % 16 == 0) {
			  printf("\r\n");
		  }
	  }
	  sum /= SAMPLE_BUFFER_SIZE / 2;
	  temp = __HAL_ADC_CALC_TEMPERATURE(3300, sum, ADC_RESOLUTION_12B);
	  printf("Avg: raw=%lu, temp=%d\r\n\n", sum, temp);

  }
  /* USER CODE END 5 */
}

void HAL_TIM_PeriodElapsedCallback(TIM_HandleTypeDef *htim)
{
  if (htim->Instance == TIM6)
  {
    HAL_IncTick();
  }
}

void Error_Handler(void)
{
  __disable_irq();
  while (1)
  {
  }
}
